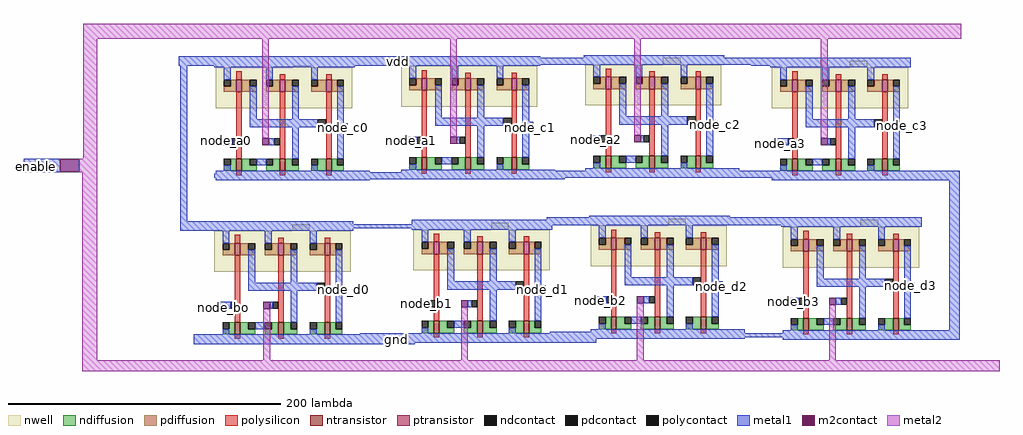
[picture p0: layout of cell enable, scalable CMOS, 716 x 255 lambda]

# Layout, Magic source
magic
tech scmos
<< nwell >>
rect 20 162 33 167
rect -251 160 -238 161
rect -308 130 -208 160
rect -172 131 -72 161
rect -37 132 63 162
rect 157 160 170 165
rect 100 130 200 160
rect -252 40 -239 45
rect -106 41 -93 46
rect 24 44 37 49
rect -309 10 -209 40
rect -163 11 -63 41
rect -33 14 67 44
rect 165 43 178 48
rect 108 13 208 43
<< ntransistor >>
rect -293 84 -289 93
rect -261 84 -257 93
rect -227 84 -223 93
rect -157 85 -153 94
rect -125 85 -121 94
rect -91 85 -87 94
rect -22 86 -18 95
rect 10 86 14 95
rect 44 86 48 95
rect 115 84 119 93
rect 147 84 151 93
rect 181 84 185 93
rect -294 -36 -290 -27
rect -262 -36 -258 -27
rect -228 -36 -224 -27
rect -148 -35 -144 -26
rect -116 -35 -112 -26
rect -82 -35 -78 -26
rect -18 -32 -14 -23
rect 14 -32 18 -23
rect 48 -32 52 -23
rect 123 -33 127 -24
rect 155 -33 159 -24
rect 189 -33 193 -24
<< ptransistor >>
rect -293 142 -289 151
rect -261 142 -257 151
rect -227 142 -223 151
rect -157 143 -153 152
rect -125 143 -121 152
rect -91 143 -87 152
rect -22 144 -18 153
rect 10 144 14 153
rect 44 144 48 153
rect 115 142 119 151
rect 147 142 151 151
rect 181 142 185 151
rect -294 22 -290 31
rect -262 22 -258 31
rect -228 22 -224 31
rect -148 23 -144 32
rect -116 23 -112 32
rect -82 23 -78 32
rect -18 26 -14 35
rect 14 26 18 35
rect 48 26 52 35
rect 123 25 127 34
rect 155 25 159 34
rect 189 25 193 34
<< ndiffusion >>
rect -297 88 -293 93
rect -302 84 -293 88
rect -289 88 -283 93
rect -289 84 -278 88
rect -266 88 -261 93
rect -271 84 -261 88
rect -257 88 -252 93
rect -257 84 -247 88
rect -233 88 -227 93
rect -238 84 -227 88
rect -223 88 -219 93
rect -223 84 -214 88
rect -161 89 -157 94
rect -166 85 -157 89
rect -153 89 -147 94
rect -153 85 -142 89
rect -130 89 -125 94
rect -135 85 -125 89
rect -121 89 -116 94
rect -121 85 -111 89
rect -97 89 -91 94
rect -102 85 -91 89
rect -87 89 -83 94
rect -87 85 -78 89
rect -26 90 -22 95
rect -31 86 -22 90
rect -18 90 -12 95
rect -18 86 -7 90
rect 5 90 10 95
rect 0 86 10 90
rect 14 90 19 95
rect 14 86 24 90
rect 38 90 44 95
rect 33 86 44 90
rect 48 90 52 95
rect 48 86 57 90
rect 111 88 115 93
rect 106 84 115 88
rect 119 88 125 93
rect 119 84 130 88
rect 142 88 147 93
rect 137 84 147 88
rect 151 88 156 93
rect 151 84 161 88
rect 175 88 181 93
rect 170 84 181 88
rect 185 88 189 93
rect 185 84 194 88
rect -298 -32 -294 -27
rect -303 -36 -294 -32
rect -290 -32 -284 -27
rect -290 -36 -279 -32
rect -267 -32 -262 -27
rect -272 -36 -262 -32
rect -258 -32 -253 -27
rect -258 -36 -248 -32
rect -234 -32 -228 -27
rect -239 -36 -228 -32
rect -224 -32 -220 -27
rect -224 -36 -215 -32
rect -152 -31 -148 -26
rect -157 -35 -148 -31
rect -144 -31 -138 -26
rect -144 -35 -133 -31
rect -121 -31 -116 -26
rect -126 -35 -116 -31
rect -112 -31 -107 -26
rect -112 -35 -102 -31
rect -88 -31 -82 -26
rect -93 -35 -82 -31
rect -78 -31 -74 -26
rect -78 -35 -69 -31
rect -22 -28 -18 -23
rect -27 -32 -18 -28
rect -14 -28 -8 -23
rect -14 -32 -3 -28
rect 9 -28 14 -23
rect 4 -32 14 -28
rect 18 -28 23 -23
rect 18 -32 28 -28
rect 42 -28 48 -23
rect 37 -32 48 -28
rect 52 -28 56 -23
rect 52 -32 61 -28
rect 119 -29 123 -24
rect 114 -33 123 -29
rect 127 -29 133 -24
rect 127 -33 138 -29
rect 150 -29 155 -24
rect 145 -33 155 -29
rect 159 -29 164 -24
rect 159 -33 169 -29
rect 183 -29 189 -24
rect 178 -33 189 -29
rect 193 -29 197 -24
rect 193 -33 202 -29
<< pdiffusion >>
rect -297 146 -293 151
rect -302 142 -293 146
rect -289 146 -283 151
rect -289 142 -278 146
rect -266 146 -261 151
rect -271 142 -261 146
rect -257 146 -252 151
rect -257 142 -247 146
rect -233 146 -227 151
rect -238 142 -227 146
rect -223 146 -219 151
rect -223 142 -214 146
rect -161 147 -157 152
rect -166 143 -157 147
rect -153 147 -147 152
rect -153 143 -142 147
rect -130 147 -125 152
rect -135 143 -125 147
rect -121 147 -116 152
rect -121 143 -111 147
rect -97 147 -91 152
rect -102 143 -91 147
rect -87 147 -83 152
rect -87 143 -78 147
rect -26 148 -22 153
rect -31 144 -22 148
rect -18 148 -12 153
rect -18 144 -7 148
rect 5 148 10 153
rect 0 144 10 148
rect 14 148 19 153
rect 14 144 24 148
rect 38 148 44 153
rect 33 144 44 148
rect 48 148 52 153
rect 48 144 57 148
rect 111 146 115 151
rect 106 142 115 146
rect 119 146 125 151
rect 119 142 130 146
rect 142 146 147 151
rect 137 142 147 146
rect 151 146 156 151
rect 151 142 161 146
rect 175 146 181 151
rect 170 142 181 146
rect 185 146 189 151
rect 185 142 194 146
rect -298 26 -294 31
rect -303 22 -294 26
rect -290 26 -284 31
rect -290 22 -279 26
rect -267 26 -262 31
rect -272 22 -262 26
rect -258 26 -253 31
rect -258 22 -248 26
rect -234 26 -228 31
rect -239 22 -228 26
rect -224 26 -220 31
rect -224 22 -215 26
rect -152 27 -148 32
rect -157 23 -148 27
rect -144 27 -138 32
rect -144 23 -133 27
rect -121 27 -116 32
rect -126 23 -116 27
rect -112 27 -107 32
rect -112 23 -102 27
rect -88 27 -82 32
rect -93 23 -82 27
rect -78 27 -74 32
rect -78 23 -69 27
rect -22 30 -18 35
rect -27 26 -18 30
rect -14 30 -8 35
rect -14 26 -3 30
rect 9 30 14 35
rect 4 26 14 30
rect 18 30 23 35
rect 18 26 28 30
rect 42 30 48 35
rect 37 26 48 30
rect 52 30 56 35
rect 52 26 61 30
rect 119 29 123 34
rect 114 25 123 29
rect 127 29 133 34
rect 127 25 138 29
rect 150 29 155 34
rect 145 25 155 29
rect 159 29 164 34
rect 159 25 169 29
rect 183 29 189 34
rect 178 25 189 29
rect 193 29 197 34
rect 193 25 202 29
<< ndcontact >>
rect -302 88 -297 93
rect -283 88 -278 93
rect -271 88 -266 93
rect -252 88 -247 93
rect -238 88 -233 93
rect -219 88 -214 93
rect -166 89 -161 94
rect -147 89 -142 94
rect -135 89 -130 94
rect -116 89 -111 94
rect -102 89 -97 94
rect -83 89 -78 94
rect -31 90 -26 95
rect -12 90 -7 95
rect 0 90 5 95
rect 19 90 24 95
rect 33 90 38 95
rect 52 90 57 95
rect 106 88 111 93
rect 125 88 130 93
rect 137 88 142 93
rect 156 88 161 93
rect 170 88 175 93
rect 189 88 194 93
rect -303 -32 -298 -27
rect -284 -32 -279 -27
rect -272 -32 -267 -27
rect -253 -32 -248 -27
rect -239 -32 -234 -27
rect -220 -32 -215 -27
rect -157 -31 -152 -26
rect -138 -31 -133 -26
rect -126 -31 -121 -26
rect -107 -31 -102 -26
rect -93 -31 -88 -26
rect -74 -31 -69 -26
rect -27 -28 -22 -23
rect -8 -28 -3 -23
rect 4 -28 9 -23
rect 23 -28 28 -23
rect 37 -28 42 -23
rect 56 -28 61 -23
rect 114 -29 119 -24
rect 133 -29 138 -24
rect 145 -29 150 -24
rect 164 -29 169 -24
rect 178 -29 183 -24
rect 197 -29 202 -24
<< pdcontact >>
rect -302 146 -297 151
rect -283 146 -278 151
rect -271 146 -266 151
rect -252 146 -247 151
rect -238 146 -233 151
rect -219 146 -214 151
rect -166 147 -161 152
rect -147 147 -142 152
rect -135 147 -130 152
rect -116 147 -111 152
rect -102 147 -97 152
rect -83 147 -78 152
rect -31 148 -26 153
rect -12 148 -7 153
rect 0 148 5 153
rect 19 148 24 153
rect 33 148 38 153
rect 52 148 57 153
rect 106 146 111 151
rect 125 146 130 151
rect 137 146 142 151
rect 156 146 161 151
rect 170 146 175 151
rect 189 146 194 151
rect -303 26 -298 31
rect -284 26 -279 31
rect -272 26 -267 31
rect -253 26 -248 31
rect -239 26 -234 31
rect -220 26 -215 31
rect -157 27 -152 32
rect -138 27 -133 32
rect -126 27 -121 32
rect -107 27 -102 32
rect -93 27 -88 32
rect -74 27 -69 32
rect -27 30 -22 35
rect -8 30 -3 35
rect 4 30 9 35
rect 23 30 28 35
rect 37 30 42 35
rect 56 30 61 35
rect 114 29 119 34
rect 133 29 138 34
rect 145 29 150 34
rect 164 29 169 34
rect 178 29 183 34
rect 197 29 202 34
<< polysilicon >>
rect -293 151 -289 157
rect -261 151 -257 155
rect -227 151 -223 155
rect -157 152 -153 158
rect -125 152 -121 156
rect -91 152 -87 156
rect -22 153 -18 159
rect 10 153 14 157
rect 44 153 48 157
rect 115 151 119 157
rect 147 151 151 155
rect 181 151 185 155
rect -293 108 -289 142
rect -292 103 -289 108
rect -293 93 -289 103
rect -261 93 -257 142
rect -227 93 -223 142
rect -157 109 -153 143
rect -156 104 -153 109
rect -157 94 -153 104
rect -125 94 -121 143
rect -91 94 -87 143
rect -22 110 -18 144
rect -21 105 -18 110
rect -22 95 -18 105
rect 10 95 14 144
rect 44 95 48 144
rect 115 108 119 142
rect 116 103 119 108
rect 115 93 119 103
rect 147 93 151 142
rect 181 93 185 142
rect -293 81 -289 84
rect -261 81 -257 84
rect -227 81 -223 84
rect -157 82 -153 85
rect -125 82 -121 85
rect -91 82 -87 85
rect -22 83 -18 86
rect 10 83 14 86
rect 44 83 48 86
rect 115 81 119 84
rect 147 81 151 84
rect 181 81 185 84
rect -294 31 -290 37
rect -262 31 -258 35
rect -228 31 -224 35
rect -148 32 -144 38
rect -116 32 -112 36
rect -82 32 -78 36
rect -18 35 -14 41
rect 14 35 18 39
rect 48 35 52 39
rect 123 34 127 40
rect 155 34 159 38
rect 189 34 193 38
rect -294 -12 -290 22
rect -293 -17 -290 -12
rect -294 -27 -290 -17
rect -262 -27 -258 22
rect -228 -27 -224 22
rect -148 -11 -144 23
rect -147 -16 -144 -11
rect -148 -26 -144 -16
rect -116 -26 -112 23
rect -82 -26 -78 23
rect -18 -8 -14 26
rect -17 -13 -14 -8
rect -18 -23 -14 -13
rect 14 -23 18 26
rect 48 -23 52 26
rect 123 -9 127 25
rect 124 -14 127 -9
rect 123 -24 127 -14
rect 155 -24 159 25
rect 189 -24 193 25
rect -18 -35 -14 -32
rect 14 -35 18 -32
rect 48 -35 52 -32
rect -294 -39 -290 -36
rect -262 -39 -258 -36
rect -228 -39 -224 -36
rect -148 -38 -144 -35
rect -116 -38 -112 -35
rect -82 -38 -78 -35
rect 123 -36 127 -33
rect 155 -36 159 -33
rect 189 -36 193 -33
<< polycontact >>
rect -296 103 -292 108
rect -265 103 -261 108
rect -233 116 -227 122
rect -160 104 -156 109
rect -129 104 -125 109
rect -97 117 -91 123
rect -25 105 -21 110
rect 6 105 10 110
rect 38 118 44 124
rect 112 103 116 108
rect 143 103 147 108
rect 175 116 181 122
rect -297 -17 -293 -12
rect -266 -17 -262 -12
rect -234 -4 -228 2
rect -151 -16 -147 -11
rect -120 -16 -116 -11
rect -88 -3 -82 3
rect -21 -13 -17 -8
rect 10 -13 14 -8
rect 42 0 48 6
rect 120 -14 124 -9
rect 151 -14 155 -9
rect 183 -1 189 5
<< metal1 >>
rect -335 167 -70 168
rect -38 167 65 169
rect -335 162 202 167
rect -335 161 -70 162
rect -449 83 -422 93
rect -334 47 -329 161
rect -309 160 -206 161
rect -302 151 -297 160
rect -271 151 -266 160
rect -238 151 -233 160
rect -166 152 -161 161
rect -135 152 -130 161
rect -102 152 -97 161
rect -31 153 -26 162
rect 0 153 5 162
rect 33 153 38 162
rect 85 161 202 162
rect 99 160 202 161
rect -283 122 -278 146
rect -252 122 -247 146
rect -283 116 -233 122
rect -219 119 -214 146
rect -147 123 -142 147
rect -116 123 -111 147
rect -305 103 -296 108
rect -269 103 -265 108
rect -252 93 -247 116
rect -219 114 -211 119
rect -147 117 -97 123
rect -83 120 -78 147
rect -12 124 -7 148
rect 19 124 24 148
rect -219 93 -214 114
rect -169 104 -160 109
rect -131 104 -129 109
rect -116 94 -111 117
rect -83 115 -75 120
rect -12 118 38 124
rect 52 121 57 148
rect 106 151 111 160
rect 137 151 142 160
rect 170 151 175 160
rect 125 122 130 146
rect 156 122 161 146
rect -83 94 -78 115
rect -34 105 -25 110
rect 4 105 6 110
rect 19 95 24 118
rect 52 116 60 121
rect 125 116 175 122
rect 189 119 194 146
rect 52 95 57 116
rect 103 103 112 108
rect 141 103 143 108
rect -278 88 -271 93
rect -142 89 -135 94
rect -7 90 0 95
rect 156 93 161 116
rect 189 114 197 119
rect 189 93 194 114
rect -302 84 -297 88
rect -238 84 -233 88
rect -166 85 -161 89
rect -102 85 -97 89
rect -31 86 -26 90
rect 33 86 38 90
rect 130 88 137 93
rect -172 84 -59 85
rect -37 84 76 86
rect 106 84 111 88
rect 170 84 175 88
rect -308 83 -195 84
rect -172 83 238 84
rect -308 82 238 83
rect -309 79 238 82
rect -308 78 -52 79
rect -308 77 -195 78
rect 100 77 238 79
rect -34 50 69 51
rect -65 48 210 50
rect -334 45 -207 47
rect -164 45 210 48
rect -334 44 210 45
rect -334 42 -61 44
rect -334 40 -207 42
rect -164 41 -61 42
rect -303 31 -298 40
rect -272 31 -267 40
rect -239 31 -234 40
rect -157 32 -152 41
rect -126 32 -121 41
rect -93 32 -88 41
rect -27 35 -22 44
rect 4 35 9 44
rect 37 35 42 44
rect 107 43 210 44
rect -284 2 -279 26
rect -253 2 -248 26
rect -284 -4 -234 2
rect -220 -1 -215 26
rect -138 3 -133 27
rect -107 3 -102 27
rect -306 -17 -297 -12
rect -268 -17 -266 -12
rect -253 -27 -248 -4
rect -220 -6 -212 -1
rect -138 -3 -88 3
rect -74 0 -69 27
rect -8 6 -3 30
rect 23 6 28 30
rect -8 0 42 6
rect 56 3 61 30
rect 114 34 119 43
rect 145 34 150 43
rect 178 34 183 43
rect 133 5 138 29
rect 164 5 169 29
rect -220 -27 -215 -6
rect -160 -16 -151 -11
rect -123 -16 -120 -11
rect -107 -26 -102 -3
rect -74 -5 -66 0
rect -74 -26 -69 -5
rect -30 -13 -21 -8
rect 6 -13 10 -8
rect 23 -23 28 0
rect 56 -2 64 3
rect 133 -1 183 5
rect 197 2 202 29
rect 56 -23 61 -2
rect 111 -14 120 -9
rect 147 -14 151 -9
rect -279 -32 -272 -27
rect -133 -31 -126 -26
rect -3 -28 4 -23
rect 164 -24 169 -1
rect 197 -3 205 2
rect 197 -24 202 -3
rect -303 -36 -298 -32
rect -239 -36 -234 -32
rect -157 -35 -152 -31
rect -93 -35 -88 -31
rect -27 -32 -22 -28
rect 37 -32 42 -28
rect 138 -29 145 -24
rect -33 -34 80 -32
rect 114 -33 119 -29
rect 178 -33 183 -29
rect 230 -33 238 77
rect -63 -35 80 -34
rect 108 -35 238 -33
rect -202 -36 238 -35
rect -324 -38 238 -36
rect -324 -39 80 -38
rect -324 -42 -29 -39
rect 108 -40 238 -38
rect -324 -43 -162 -42
<< m2contact >>
rect -422 83 -408 93
rect -274 103 -269 108
rect -136 104 -131 109
rect -1 105 4 110
rect 136 103 141 108
rect -273 -17 -268 -12
rect -128 -16 -123 -11
rect 1 -13 6 -8
rect 142 -14 147 -9
<< metal2 >>
rect -405 181 239 192
rect -405 93 -395 181
rect -274 108 -269 181
rect -136 109 -131 181
rect -1 110 4 181
rect 136 108 141 181
rect -408 83 -395 93
rect -406 -55 -395 83
rect -273 -55 -268 -17
rect -128 -55 -123 -16
rect 1 -55 6 -13
rect 142 -55 147 -14
rect -406 -63 267 -55
<< labels >>
rlabel metal1 -174 164 -174 164 5 vdd
rlabel metal1 -175 -40 -175 -40 1 gnd
rlabel metal1 -302 -16 -302 -16 1 node_bo
rlabel metal1 -153 -13 -153 -13 1 node_b1
rlabel metal1 -26 -11 -26 -11 1 node_b2
rlabel metal1 116 -12 116 -12 1 node_b3
rlabel metal1 -300 106 -300 106 1 node_a0
rlabel metal1 -164 106 -164 106 1 node_a1
rlabel metal1 -29 107 -29 107 1 node_a2
rlabel metal1 106 104 106 104 1 node_a3
rlabel metal1 -214 116 -214 116 1 node_c0
rlabel metal1 -77 116 -77 116 1 node_c1
rlabel metal1 59 118 59 118 1 node_c2
rlabel metal1 196 117 196 117 1 node_c3
rlabel metal1 -214 -3 -214 -3 1 node_d0
rlabel metal1 -68 -3 -68 -3 1 node_d1
rlabel metal1 63 -1 63 -1 1 node_d2
rlabel metal1 202 0 202 0 1 node_d3
rlabel metal1 -440 87 -440 87 1 enable
<< end >>
